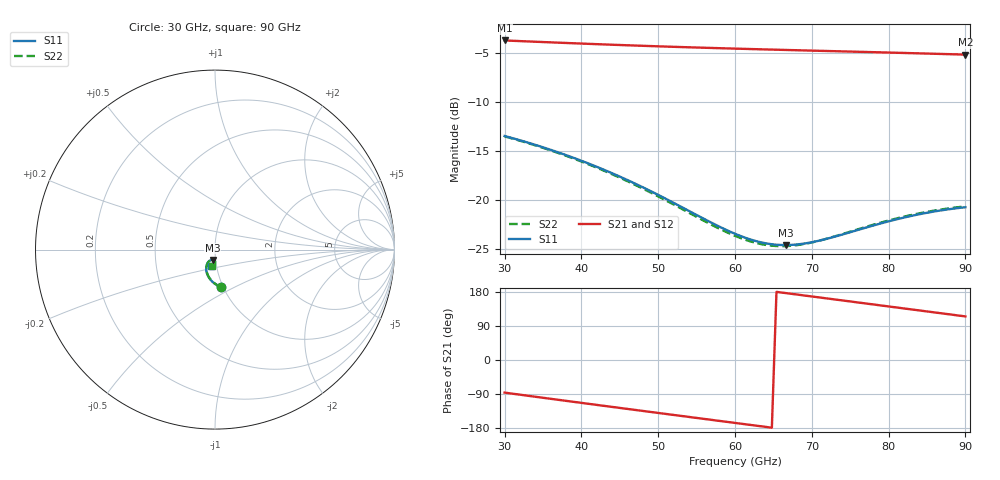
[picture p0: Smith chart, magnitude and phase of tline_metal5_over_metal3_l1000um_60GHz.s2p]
#  GHZ S DB R 50
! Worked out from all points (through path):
!   101 points, 30 GHz to 90 GHz, reference 50 ohm
!   highest |S21| = -3.74 dB at 30 GHz (marker M1); lowest = -5.2 dB at 90 GHz (marker M2)
!   group delay of S21, straight-line fit = 7.34 ps
!   lowest |S11| = -24.6 dB at 66.6 GHz (marker M3), VSWR 1.13, Z = 48.5 - j5.61 ohm
!   |S11| at or under -10 dB: start of sweep to end of sweep
!   |S22| runs from -24.7 to -13.5 dB; largest |S21 - S12| = 6.8e-14
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30  -13.48 -80.8  -3.74 -86.1  -3.74 -86.1  -13.52 -80.7
32.4  -14.01 -86.4  -3.81 -92.6  -3.81 -92.6  -14.05 -86.3
34.8  -14.58 -91.8  -3.89 -99.1  -3.89 -99.1  -14.64 -91.7
37.2  -15.21 -97.0  -3.97 -105.6  -3.97 -105.6  -15.27 -96.9
40.2  -16.07 -102.9  -4.06 -113.7  -4.06 -113.7  -16.15 -102.8
42.6  -16.82 -107.3  -4.13 -120.1  -4.13 -120.1  -16.91 -107.1
45.6  -17.83 -112.0  -4.22 -128.1  -4.22 -128.1  -17.95 -111.8
50.4  -19.65 -117.4  -4.34 -140.8  -4.34 -140.8  -19.80 -117.0
52.8  -20.62 -118.7  -4.40 -147.1  -4.40 -147.1  -20.80 -118.2
55.2  -21.62 -118.9  -4.46 -153.4  -4.46 -153.4  -21.81 -118.2
57.6  -22.58 -117.7  -4.51 -159.7  -4.51 -159.7  -22.79 -116.7
60  -23.45 -114.9  -4.57 -166.0  -4.57 -166.0  -23.66 -113.6
61.8  -23.98 -111.9  -4.61 -170.8  -4.61 -170.8  -24.18 -110.3
63.6  -24.36 -108.3  -4.64 -175.5  -4.64 -175.5  -24.53 -106.4
66.6  -24.60 -101.8  -4.70 176.6  -4.70 176.6  -24.71 -99.6
68.4  -24.51 -98.2  -4.74 171.9  -4.74 171.9  -24.57 -96.0
70.2  -24.28 -95.2  -4.78 167.1  -4.78 167.1  -24.30 -93.0
75  -23.29 -91.0  -4.87 154.5  -4.87 154.5  -23.24 -89.0
77.4  -22.74 -90.8  -4.92 148.2  -4.92 148.2  -22.67 -89.1
80.4  -22.10 -92.0  -4.98 140.3  -4.98 140.3  -22.02 -90.5
85.2  -21.28 -96.3  -5.08 127.6  -5.08 127.6  -21.19 -95.1
90  -20.75 -102.3  -5.18 115.0  -5.18 115.0  -20.66 -101.3
